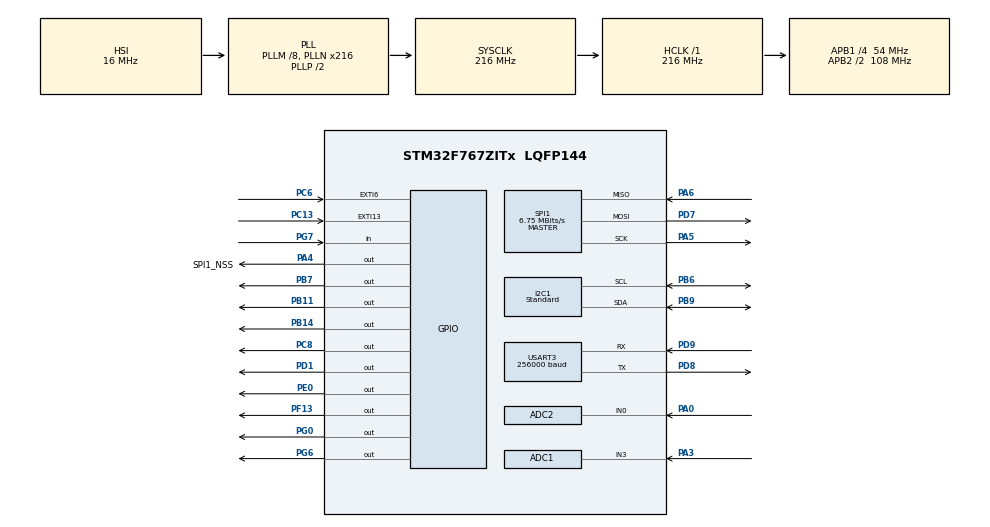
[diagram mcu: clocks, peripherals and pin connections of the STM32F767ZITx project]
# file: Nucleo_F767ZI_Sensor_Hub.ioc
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ADC1.Channel-0\#ChannelRegularConversion=ADC_CHANNEL_3
ADC1.ContinuousConvMode=DISABLE
ADC1.DMAContinuousRequests=DISABLE
ADC1.NbrOfConversionFlag=1
ADC1.Rank-0\#ChannelRegularConversion=1
ADC1.SamplingTime-0\#ChannelRegularConversion=ADC_SAMPLETIME_3CYCLES
ADC1.ScanConvMode=DISABLE
ADC1.master=1
ADC2.Channel-3\#ChannelRegularConversion=ADC_CHANNEL_0
ADC2.NbrOfConversionFlag=1
ADC2.Rank-3\#ChannelRegularConversion=1
ADC2.SamplingTime-3\#ChannelRegularConversion=ADC_SAMPLETIME_3CYCLES
Dma.ADC1.4.Direction=DMA_PERIPH_TO_MEMORY
Dma.ADC1.4.FIFOMode=DMA_FIFOMODE_DISABLE
Dma.ADC1.4.Instance=DMA2_Stream4
Dma.ADC1.4.MemDataAlignment=DMA_MDATAALIGN_HALFWORD
Dma.ADC1.4.MemInc=DMA_MINC_ENABLE
Dma.ADC1.4.Mode=DMA_NORMAL
Dma.ADC1.4.PeriphDataAlignment=DMA_PDATAALIGN_HALFWORD
Dma.ADC1.4.PeriphInc=DMA_PINC_DISABLE
Dma.ADC1.4.Priority=DMA_PRIORITY_LOW
Dma.I2C1_RX.0.Direction=DMA_PERIPH_TO_MEMORY
Dma.I2C1_RX.0.FIFOMode=DMA_FIFOMODE_DISABLE
Dma.I2C1_RX.0.Instance=DMA1_Stream0
Dma.I2C1_RX.0.MemDataAlignment=DMA_MDATAALIGN_BYTE
Dma.I2C1_RX.0.MemInc=DMA_MINC_ENABLE
Dma.I2C1_RX.0.Mode=DMA_NORMAL
Dma.I2C1_RX.0.PeriphDataAlignment=DMA_PDATAALIGN_BYTE
Dma.I2C1_RX.0.PeriphInc=DMA_PINC_DISABLE
Dma.I2C1_RX.0.Priority=DMA_PRIORITY_LOW
Dma.I2C1_TX.1.Direction=DMA_MEMORY_TO_PERIPH
Dma.I2C1_TX.1.FIFOMode=DMA_FIFOMODE_DISABLE
Dma.I2C1_TX.1.Instance=DMA1_Stream6
Dma.I2C1_TX.1.MemDataAlignment=DMA_MDATAALIGN_BYTE
Dma.I2C1_TX.1.MemInc=DMA_MINC_ENABLE
Dma.I2C1_TX.1.Mode=DMA_NORMAL
Dma.I2C1_TX.1.PeriphDataAlignment=DMA_PDATAALIGN_BYTE
Dma.I2C1_TX.1.PeriphInc=DMA_PINC_DISABLE
Dma.I2C1_TX.1.Priority=DMA_PRIORITY_LOW
Dma.Request0=I2C1_RX
Dma.Request1=I2C1_TX
Dma.Request2=SPI1_RX
Dma.Request3=SPI1_TX
Dma.Request4=ADC1
Dma.Request5=USART3_RX
Dma.Request6=USART3_TX
Dma.SPI1_RX.2.Direction=DMA_PERIPH_TO_MEMORY
Dma.SPI1_RX.2.FIFOMode=DMA_FIFOMODE_DISABLE
Dma.SPI1_RX.2.Instance=DMA2_Stream0
Dma.SPI1_RX.2.MemDataAlignment=DMA_MDATAALIGN_BYTE
Dma.SPI1_RX.2.MemInc=DMA_MINC_ENABLE
Dma.SPI1_RX.2.Mode=DMA_NORMAL
Dma.SPI1_RX.2.PeriphDataAlignment=DMA_PDATAALIGN_BYTE
Dma.SPI1_RX.2.PeriphInc=DMA_PINC_DISABLE
Dma.SPI1_RX.2.Priority=DMA_PRIORITY_LOW
Dma.SPI1_TX.3.Direction=DMA_MEMORY_TO_PERIPH
Dma.SPI1_TX.3.FIFOMode=DMA_FIFOMODE_DISABLE
Dma.SPI1_TX.3.Instance=DMA2_Stream3
Dma.SPI1_TX.3.MemDataAlignment=DMA_MDATAALIGN_BYTE
Dma.SPI1_TX.3.MemInc=DMA_MINC_ENABLE
Dma.SPI1_TX.3.Mode=DMA_NORMAL
Dma.SPI1_TX.3.PeriphDataAlignment=DMA_PDATAALIGN_BYTE
Dma.SPI1_TX.3.PeriphInc=DMA_PINC_DISABLE
Dma.SPI1_TX.3.Priority=DMA_PRIORITY_LOW
Dma.USART3_RX.5.Direction=DMA_PERIPH_TO_MEMORY
Dma.USART3_RX.5.FIFOMode=DMA_FIFOMODE_DISABLE
Dma.USART3_RX.5.Instance=DMA1_Stream1
Dma.USART3_RX.5.MemDataAlignment=DMA_MDATAALIGN_BYTE
Dma.USART3_RX.5.MemInc=DMA_MINC_ENABLE
Dma.USART3_RX.5.Mode=DMA_NORMAL
Dma.USART3_RX.5.PeriphDataAlignment=DMA_PDATAALIGN_BYTE
Dma.USART3_RX.5.PeriphInc=DMA_PINC_DISABLE
Dma.USART3_RX.5.Priority=DMA_PRIORITY_LOW
Dma.USART3_TX.6.Direction=DMA_MEMORY_TO_PERIPH
Dma.USART3_TX.6.FIFOMode=DMA_FIFOMODE_DISABLE
Dma.USART3_TX.6.Instance=DMA1_Stream3
Dma.USART3_TX.6.MemDataAlignment=DMA_MDATAALIGN_BYTE
Dma.USART3_TX.6.MemInc=DMA_MINC_ENABLE
Dma.USART3_TX.6.Mode=DMA_NORMAL
Dma.USART3_TX.6.PeriphDataAlignment=DMA_PDATAALIGN_BYTE
Dma.USART3_TX.6.PeriphInc=DMA_PINC_DISABLE
Dma.USART3_TX.6.Priority=DMA_PRIORITY_LOW
I2C1.Analog_Filter=I2C_ANALOGFILTER_ENABLE
I2C1.I2C_Coeff_DF=2
I2C1.I2C_Fall_Time=150
I2C1.I2C_Rise_Time=500
I2C1.I2C_Speed_Mode=I2C_Standard
I2C1.OwnAddress=0x60
I2C1.Speed=100
I2C1.Timing=0x20D1455D
Mcu.Family=STM32F7
Mcu.Name=STM32F767ZITx
Mcu.Package=LQFP144
NVIC.ADC_IRQn=true\:0\:0\:false\:true\:true\:4\:true\:true
NVIC.DMA1_Stream0_IRQn=true\:0\:0\:false\:true\:true\:10\:false\:true
NVIC.DMA1_Stream1_IRQn=true\:0\:0\:false\:true\:true\:6\:false\:true
NVIC.DMA1_Stream3_IRQn=true\:0\:0\:false\:true\:true\:8\:false\:true
NVIC.DMA1_Stream6_IRQn=true\:0\:0\:false\:true\:true\:9\:false\:true
NVIC.DMA2_Stream0_IRQn=true\:0\:0\:false\:false\:true\:false\:true
NVIC.DMA2_Stream3_IRQn=true\:0\:0\:false\:false\:true\:false\:true
NVIC.DMA2_Stream4_IRQn=true\:0\:0\:false\:false\:true\:false\:true
NVIC.EXTI15_10_IRQn=true\:0\:0\:false\:true\:true\:11\:true\:true
NVIC.I2C1_ER_IRQn=true\:0\:0\:false\:true\:true\:2\:true\:true
NVIC.I2C1_EV_IRQn=true\:0\:0\:false\:true\:true\:1\:true\:true
NVIC.PriorityGroup=NVIC_PRIORITYGROUP_4
NVIC.SPI1_IRQn=true\:0\:0\:false\:true\:false\:5\:true\:true
NVIC.TIM6_DAC_IRQn=true\:0\:0\:true\:true\:true\:3\:true\:true
NVIC.USART3_IRQn=true\:0\:0\:false\:true\:true\:7\:true\:true
PA0/WKUP.Signal=ADCx_IN0
PA1.Signal=ETH_RX_CLK
PA10.GPIO_Mode=GPIO_MODE_AF_PP
PA10.GPIO_PuPd=GPIO_NOPULL
PA10.GPIO_Speed=GPIO_SPEED_FREQ_VERY_HIGH
PA10.Signal=USB_OTG_FS_ID
PA11.GPIO_Mode=GPIO_MODE_AF_PP
PA11.GPIO_PuPd=GPIO_NOPULL
PA11.GPIO_Speed=GPIO_SPEED_FREQ_VERY_HIGH
PA11.Signal=USB_OTG_FS_DM
PA12.GPIO_Mode=GPIO_MODE_AF_PP
PA12.GPIO_PuPd=GPIO_NOPULL
PA12.GPIO_Speed=GPIO_SPEED_FREQ_VERY_HIGH
PA12.Signal=USB_OTG_FS_DP
PA13.Mode=Serial_Wire
PA13.Signal=SYS_JTMS-SWDIO
PA14.Mode=Serial_Wire
PA14.Signal=SYS_JTCK-SWCLK
PA2.GPIO_Mode=GPIO_MODE_AF_PP
PA2.GPIO_PuPd=GPIO_NOPULL
PA2.GPIO_Speed=GPIO_SPEED_FREQ_VERY_HIGH
PA2.Signal=ETH_MDIO
PA3.Signal=ADCx_IN3
PA4.GPIO_Label=SPI1_NSS
PA4.GPIO_ModeDefaultOutputPP=GPIO_MODE_OUTPUT_PP
PA4.GPIO_PuPd=GPIO_NOPULL
PA4.GPIO_Speed=GPIO_SPEED_FREQ_LOW
PA4.PinState=GPIO_PIN_RESET
PA4.Signal=GPIO_Output
PA5.Mode=Full_Duplex_Master
PA5.Signal=SPI1_SCK
PA6.Mode=Full_Duplex_Master
PA6.Signal=SPI1_MISO
PA7.Signal=ETH_RX_DV
PA8.GPIO_Mode=GPIO_MODE_AF_PP
PA8.GPIO_PuPd=GPIO_NOPULL
PA8.GPIO_Speed=GPIO_SPEED_FREQ_VERY_HIGH
PA8.Signal=USB_OTG_FS_SOF
PA9.GPIO_Mode=GPIO_MODE_INPUT
PA9.GPIO_PuPd=GPIO_NOPULL
PA9.Signal=USB_OTG_FS_VBUS
PB11.Signal=GPIO_Output
PB13.GPIO_Mode=GPIO_MODE_AF_PP
PB13.GPIO_PuPd=GPIO_NOPULL
PB13.GPIO_Speed=GPIO_SPEED_FREQ_VERY_HIGH
PB13.Signal=ETH_TXD1
PB14.GPIO_ModeDefaultOutputPP=GPIO_MODE_OUTPUT_PP
PB14.GPIO_PuPd=GPIO_NOPULL
PB14.GPIO_Speed=GPIO_SPEED_FREQ_LOW
PB14.PinState=GPIO_PIN_RESET
PB14.Signal=GPIO_Output
PB3.Signal=SYS_JTDO-SWO
PB6.Mode=I2C
PB6.Signal=I2C1_SCL
PB7.GPIO_FM7=__NULL
PB7.GPIO_ModeDefaultOutputPP=GPIO_MODE_OUTPUT_PP
PB7.GPIO_PuPd=GPIO_NOPULL
PB7.GPIO_Speed=GPIO_SPEED_FREQ_LOW
PB7.PinState=GPIO_PIN_RESET
PB7.Signal=GPIO_Output
PB9.Mode=I2C
PB9.Signal=I2C1_SDA
PC1.GPIO_Mode=GPIO_MODE_AF_PP
PC1.GPIO_PuPd=GPIO_NOPULL
PC1.GPIO_Speed=GPIO_SPEED_FREQ_VERY_HIGH
PC1.Signal=ETH_MDC
PC13.GPIO_ModeDefaultEXTI=GPIO_MODE_IT_RISING
PC13.GPIO_PuPd=GPIO_NOPULL
PC13.Signal=GPXTI13
PC14/OSC32_IN.Mode=LSE-External-Oscillator
PC14/OSC32_IN.Signal=RCC_OSC32_IN
PC15/OSC32_OUT.Mode=LSE-External-Oscillator
PC15/OSC32_OUT.Signal=RCC_OSC32_OUT
PC4.GPIO_Mode=GPIO_MODE_AF_PP
PC4.GPIO_PuPd=GPIO_NOPULL
PC4.GPIO_Speed=GPIO_SPEED_FREQ_VERY_HIGH
PC4.Signal=ETH_RXD0
PC5.GPIO_Mode=GPIO_MODE_AF_PP
PC5.GPIO_PuPd=GPIO_NOPULL
PC5.GPIO_Speed=GPIO_SPEED_FREQ_VERY_HIGH
PC5.Signal=ETH_RXD1
PC6.GPIO_ModeDefaultEXTI=GPIO_MODE_IT_RISING
PC6.GPIO_PuPd=GPIO_NOPULL
PC6.Signal=GPXTI6
PC8.GPIO_ModeDefaultOutputPP=GPIO_MODE_OUTPUT_OD
PC8.Signal=GPIO_Output
PD1.Signal=GPIO_Output
PD7.Mode=Full_Duplex_Master
PD7.Signal=SPI1_MOSI
PD8.GPIO_ModeDefaultPP=GPIO_MODE_AF_PP
PD8.GPIO_PuPd=GPIO_NOPULL
PD8.GPIO_Speed=GPIO_SPEED_FREQ_VERY_HIGH
PD8.Mode=Asynchronous
PD8.Signal=USART3_TX
PD9.GPIO_ModeDefaultPP=GPIO_MODE_AF_PP
PD9.GPIO_PuPd=GPIO_NOPULL
PD9.GPIO_Speed=GPIO_SPEED_FREQ_VERY_HIGH
PD9.Mode=Asynchronous
PD9.Signal=USART3_RX
PE0.Signal=GPIO_Output
PF13.GPIO_ModeDefaultOutputPP=GPIO_MODE_OUTPUT_OD
PF13.Signal=GPIO_Output
PG0.Signal=GPIO_Output
PG11.GPIO_Mode=GPIO_MODE_AF_PP
PG11.GPIO_PuPd=GPIO_NOPULL
PG11.GPIO_Speed=GPIO_SPEED_FREQ_VERY_HIGH
PG11.Signal=ETH_TX_EN
PG13.GPIO_Mode=GPIO_MODE_AF_PP
PG13.GPIO_PuPd=GPIO_NOPULL
PG13.GPIO_Speed=GPIO_SPEED_FREQ_VERY_HIGH
PG13.Signal=ETH_TXD0
PG6.GPIO_ModeDefaultOutputPP=GPIO_MODE_OUTPUT_PP
PG6.GPIO_PuPd=GPIO_NOPULL
PG6.GPIO_Speed=GPIO_SPEED_FREQ_LOW
PG6.PinState=GPIO_PIN_RESET
PG6.Signal=GPIO_Output
PG7.GPIO_Mode=GPIO_MODE_INPUT
PG7.GPIO_PuPd=GPIO_NOPULL
PG7.Signal=GPIO_Input
PH0/OSC_IN.Mode=HSE-External-Clock-Source
PH0/OSC_IN.Signal=RCC_OSC_IN
PH1/OSC_OUT.Mode=HSE-External-Clock-Source
PH1/OSC_OUT.Signal=RCC_OSC_OUT
ProjectManager.HeapSize=0x200
ProjectManager.StackSize=0x400
ProjectManager.TargetToolchain=STM32CubeIDE
RCC.48MHZClocksFreq_Value=24000000
RCC.AHBFreq_Value=216000000
RCC.APB1CLKDivider=RCC_HCLK_DIV4
RCC.APB1Freq_Value=54000000
RCC.APB1TimFreq_Value=108000000
RCC.APB2CLKDivider=RCC_HCLK_DIV2
RCC.APB2Freq_Value=108000000
RCC.APB2TimFreq_Value=216000000
RCC.CortexFreq_Value=216000000
RCC.HCLKFreq_Value=216000000
RCC.HSE_VALUE=8000000
RCC.HSI_VALUE=16000000
RCC.LSE_Timout=50
RCC.PLLM=8
RCC.PLLMUL=RCC_PLL_MUL9
RCC.PLLN=216
RCC.PLLQ=4
RCC.PRESCALERUSB=RCC_USBCLKSOURCE_PLL_DIV1_5
RCC.SYSCLKFreq_VALUE=216000000
RCC.SYSCLKSource=RCC_SYSCLKSOURCE_PLLCLK
RCC.SYSCLKSourceVirtual=RCC_SYSCLKSOURCE_PLLCLK
RCC.USBFreq_Value=108000000
RCC.VCOOutputFreq_Value=432000000
RTC.AsynchPrediv=31
RTC.Format=RTC_FORMAT_BCD
RTC.HourFormat=RTC_HOURFORMAT_12
RTC.SynchPrediv=999
SH.ADCx_IN0.0=ADC2_IN0,IN0
SH.ADCx_IN3.0=ADC1_IN3,IN3
SPI1.BaudRatePrescaler=SPI_BAUDRATEPRESCALER_16
SPI1.CLKPhase=SPI_PHASE_1EDGE
SPI1.CalculateBaudRate=6.75 MBits/s
SPI1.DataSize=SPI_DATASIZE_8BIT
SPI1.Direction=SPI_DIRECTION_2LINES
SPI1.Mode=SPI_MODE_MASTER
SPI1.VirtualType=VM_MASTER
TIM6.Period=3599
TIM6.Prescaler=2999
USART3.BaudRate=256000
USART3.VirtualMode-Asynchronous=VM_ASYNC
VP_RTC_VS_RTC_Activate.Mode=RTC_Enabled
VP_RTC_VS_RTC_Calendar.Mode=RTC_Calendar
VP_TIM1_VS_ClockSourceITR.Mode=TriggerSource_ITR0
VP_TIM6_VS_ClockSourceINT.Mode=Enable_Timer
VP_TIM7_VS_ClockSourceINT.Mode=Enable_Timer
board=NUCLEO-F767ZI

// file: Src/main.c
/* USER CODE BEGIN Header */
/**
  ******************************************************************************
  * @file           : main.c
  * @brief          : Main program body
  ******************************************************************************
  * @attention
  *
  * <h2><center>&copy; Copyright (c) 2019 STMicroelectronics.
  * All rights reserved.</center></h2>
  *
  * This software component is licensed by ST under BSD 3-Clause license,
  * the "License"; You may not use this file except in compliance with the
  * License. You may obtain a copy of the License at:
  *                        opensource.org/licenses/BSD-3-Clause
  *
  ******************************************************************************
  */
/* USER CODE END Header */

#include "main.h"

ADC_HandleTypeDef hadc1;
ADC_HandleTypeDef hadc2;
DMA_HandleTypeDef hdma_adc1;

I2C_HandleTypeDef hi2c1;
DMA_HandleTypeDef hdma_i2c1_rx;
DMA_HandleTypeDef hdma_i2c1_tx;

RTC_HandleTypeDef hrtc;

SPI_HandleTypeDef hspi1;
DMA_HandleTypeDef hdma_spi1_rx;
DMA_HandleTypeDef hdma_spi1_tx;

TIM_HandleTypeDef htim1;
TIM_HandleTypeDef htim6;
TIM_HandleTypeDef htim7;

UART_HandleTypeDef huart3;
DMA_HandleTypeDef hdma_usart3_rx;
DMA_HandleTypeDef hdma_usart3_tx;

/* USER CODE BEGIN PV */

Sensor_HandleType sens1;
Sensor_HandleType sens2;
Sensor_HandleType sens3;
Sensor_HandleType sens4;
Sensor_HandleType sens5;

Operator_UartDataType operator1;

char hal_errorFunctionName[128] = "NO FUNCTION SELECTED";

RTC_TimeTypeDef init_system_time = {0, 0, 0, 0};
RTC_DateTypeDef init_system_date = {0, 0, 0, 0};

volatile uint8_t DataAquisitionFlag = 0;

/* USER CODE END PV */

void SystemClock_Config(void);
static void MX_GPIO_Init(void);
static void MX_DMA_Init(void);
static void MX_I2C1_Init(void);
static void MX_SPI1_Init(void);
static void MX_USART3_UART_Init(void);
static void MX_TIM6_Init(void);
static void MX_RTC_Init(void);
static void MX_ADC1_Init(void);
static void MX_TIM1_Init(void);
static void MX_ADC2_Init(void);
static void MX_TIM7_Init(void);
static void MX_NVIC_Init(void);
/* USER CODE BEGIN PFP */

static void burstMode(uint32_t dataSize);
static void configSensors(void);
static void configOperator(void);
/* USER CODE END PFP */

int main(void)
{
  /* USER CODE BEGIN 1 */

/*Number of data points for one measurement*/
 uint32_t burstModeDataSize = 100000;
  /* USER CODE END 1 */

  /* MCU Configuration--------------------------------------------------------*/

  /* Reset of all peripherals, Initializes the Flash interface and the Systick. */
  HAL_Init();

  /* Configure the system clock */
  SystemClock_Config();

  /* USER CODE BEGIN SysInit */

  /* Initialization Code--------------------------------------------------------*/

#ifdef COMMENT_OUT
  /* USER CODE END SysInit */

  /* Initialize all configured peripherals */
  MX_GPIO_Init();
  MX_DMA_Init();
  MX_I2C1_Init();
  MX_SPI1_Init();
  MX_USART3_UART_Init();
  MX_TIM6_Init();
  MX_RTC_Init();
  MX_ADC1_Init();
  MX_TIM1_Init();
  MX_ADC2_Init();
  MX_TIM7_Init();

  /* Initialize interrupts */
  MX_NVIC_Init();
  /* USER CODE BEGIN 2 */
#endif  /*COMMENT_OUT*/

  /*The following peripherals will be initialized auto-generated CubeHal-functions
   *The interface peripherals to the Sensors and to the Operator will be initialized separately
   *in the configOperator() and configSensors() functions*/

  MX_GPIO_Init();
  MX_NVIC_Init();
  MX_TIM6_Init();
  MX_RTC_Init();
  MX_DMA_Init();

  /*Initial the RTC system time*/
  initDWT(); /*Clock Cycle timer for us delays*/
  setSystemTime(init_system_time, init_system_date);

  /*Make sure the currentSink for TSEP measurement is turned off */
  turnOffCurrentSink();

  /*Specific Settings for each Sensor
   *
   * Sens1: Themorcouple, I2C Interface
   * Sens2: Thermopile, SPI Interface (not active)
   * Sens3: TSEP, Analog ADC Interface
   * Sens4: Thermistor, Analog ADC Interface
   * sens5: Thermocam, Trigger GPIO
   *
   * */
  configOperator();
  configSensors();

  /*Additional Calibration Data*/
  Sensor_setSensorCalibration(&sens1);

  /* USER CODE END 2 */

  /* Infinite loop */
  /* USER CODE BEGIN WHILE */

  /* Main Application Code--------------------------------------------------------*/
  while (1)
  {
	  /*Wait for burst-mode start command */
	 Operator_uartListenCommand(&huart3, &operator1);

	 if (Operator_processCommand(&huart3, &operator1) == OPERATOR_START_COMMAND)
	 {
		 /*Indication that a data aquisition is running*/
		 DataAquisitionFlag = 1;
		 HAL_GPIO_WritePin(GPIOB, GPIO_PIN_7, GPIO_PIN_SET);

		 /*Timer for Camera framerate of 10Hz*/
		 HAL_TIM_Base_Start_IT(&htim6);

		/*Turn on the current sink for TSEP measurement*/
		 turnOnCurrentSink();

		 /*Reset RTC Time to 0 */
		 setSystemTime(init_system_time, init_system_date);

		 /*Burst mode data acquisition which collects data for all sensors until the burstModeDataSize limit is reached*/
		 burstMode(burstModeDataSize);

	 }
    /* USER CODE END WHILE */

  }
}

void SystemClock_Config(void)
{
  RCC_OscInitTypeDef RCC_OscInitStruct = {0};
  RCC_ClkInitTypeDef RCC_ClkInitStruct = {0};
  RCC_PeriphCLKInitTypeDef PeriphClkInitStruct = {0};

  /** Configure LSE Drive Capability
  */
  HAL_PWR_EnableBkUpAccess();
  /** Configure the main internal regulator output voltage
  */
  __HAL_RCC_PWR_CLK_ENABLE();
  __HAL_PWR_VOLTAGESCALING_CONFIG(PWR_REGULATOR_VOLTAGE_SCALE1);
  /** Initializes the CPU, AHB and APB busses clocks
  */
  RCC_OscInitStruct.OscillatorType = RCC_OSCILLATORTYPE_HSI|RCC_OSCILLATORTYPE_LSI;
  RCC_OscInitStruct.HSIState = RCC_HSI_ON;
  RCC_OscInitStruct.HSICalibrationValue = RCC_HSICALIBRATION_DEFAULT;
  RCC_OscInitStruct.LSIState = RCC_LSI_ON;
  RCC_OscInitStruct.PLL.PLLState = RCC_PLL_ON;
  RCC_OscInitStruct.PLL.PLLSource = RCC_PLLSOURCE_HSI;
  RCC_OscInitStruct.PLL.PLLM = 8;
  RCC_OscInitStruct.PLL.PLLN = 216;
  RCC_OscInitStruct.PLL.PLLP = RCC_PLLP_DIV2;
  RCC_OscInitStruct.PLL.PLLQ = 4;
  if (HAL_RCC_OscConfig(&RCC_OscInitStruct) != HAL_OK)
  {
    Error_Handler();
  }
  /** Activate the Over-Drive mode
  */
  if (HAL_PWREx_EnableOverDrive() != HAL_OK)
  {
    Error_Handler();
  }
  /** Initializes the CPU, AHB and APB busses clocks
  */
  RCC_ClkInitStruct.ClockType = RCC_CLOCKTYPE_HCLK|RCC_CLOCKTYPE_SYSCLK
                              |RCC_CLOCKTYPE_PCLK1|RCC_CLOCKTYPE_PCLK2;
  RCC_ClkInitStruct.SYSCLKSource = RCC_SYSCLKSOURCE_PLLCLK;
  RCC_ClkInitStruct.AHBCLKDivider = RCC_SYSCLK_DIV1;
  RCC_ClkInitStruct.APB1CLKDivider = RCC_HCLK_DIV4;
  RCC_ClkInitStruct.APB2CLKDivider = RCC_HCLK_DIV2;

  if (HAL_RCC_ClockConfig(&RCC_ClkInitStruct, FLASH_LATENCY_7) != HAL_OK)
  {
    Error_Handler();
  }
  PeriphClkInitStruct.PeriphClockSelection = RCC_PERIPHCLK_RTC|RCC_PERIPHCLK_USART3
                              |RCC_PERIPHCLK_I2C1;
  PeriphClkInitStruct.RTCClockSelection = RCC_RTCCLKSOURCE_LSI;
  PeriphClkInitStruct.Usart3ClockSelection = RCC_USART3CLKSOURCE_PCLK1;
  PeriphClkInitStruct.I2c1ClockSelection = RCC_I2C1CLKSOURCE_PCLK1;
  if (HAL_RCCEx_PeriphCLKConfig(&PeriphClkInitStruct) != HAL_OK)
  {
    Error_Handler();
  }
}

/**
  * @brief NVIC Configuration.
  * @retval None
  */
static void MX_NVIC_Init(void)
{
  /* I2C1_EV_IRQn interrupt configuration */
  HAL_NVIC_SetPriority(I2C1_EV_IRQn, 0, 0);
  HAL_NVIC_EnableIRQ(I2C1_EV_IRQn);
  /* I2C1_ER_IRQn interrupt configuration */
  HAL_NVIC_SetPriority(I2C1_ER_IRQn, 0, 0);
  HAL_NVIC_EnableIRQ(I2C1_ER_IRQn);
  /* TIM6_DAC_IRQn interrupt configuration */
  HAL_NVIC_SetPriority(TIM6_DAC_IRQn, 0, 0);
  HAL_NVIC_EnableIRQ(TIM6_DAC_IRQn);
  /* ADC_IRQn interrupt configuration */
  HAL_NVIC_SetPriority(ADC_IRQn, 0, 0);
  HAL_NVIC_EnableIRQ(ADC_IRQn);
  /* SPI1_IRQn interrupt configuration */
  HAL_NVIC_SetPriority(SPI1_IRQn, 0, 0);
  HAL_NVIC_EnableIRQ(SPI1_IRQn);
  /* DMA1_Stream1_IRQn interrupt configuration */
  HAL_NVIC_SetPriority(DMA1_Stream1_IRQn, 0, 0);
  HAL_NVIC_EnableIRQ(DMA1_Stream1_IRQn);
  /* USART3_IRQn interrupt configuration */
  HAL_NVIC_SetPriority(USART3_IRQn, 0, 0);
  HAL_NVIC_EnableIRQ(USART3_IRQn);
  /* DMA1_Stream3_IRQn interrupt configuration */
  HAL_NVIC_SetPriority(DMA1_Stream3_IRQn, 0, 0);
  HAL_NVIC_EnableIRQ(DMA1_Stream3_IRQn);
  /* DMA1_Stream6_IRQn interrupt configuration */
  HAL_NVIC_SetPriority(DMA1_Stream6_IRQn, 0, 0);
  HAL_NVIC_EnableIRQ(DMA1_Stream6_IRQn);
  /* DMA1_Stream0_IRQn interrupt configuration */
  HAL_NVIC_SetPriority(DMA1_Stream0_IRQn, 0, 0);
  HAL_NVIC_EnableIRQ(DMA1_Stream0_IRQn);
  /* EXTI15_10_IRQn interrupt configuration */
  HAL_NVIC_SetPriority(EXTI15_10_IRQn, 0, 0);
  HAL_NVIC_EnableIRQ(EXTI15_10_IRQn);
}

static void MX_ADC1_Init(void)
{

  ADC_ChannelConfTypeDef sConfig = {0};

  /** Configure the global features of the ADC (Clock, Resolution, Data Alignment and number of conversion)
  */
  hadc1.Instance = ADC1;
  hadc1.Init.ClockPrescaler = ADC_CLOCK_SYNC_PCLK_DIV4;
  hadc1.Init.Resolution = ADC_RESOLUTION_12B;
  hadc1.Init.ScanConvMode = DISABLE;
  hadc1.Init.ContinuousConvMode = DISABLE;
  hadc1.Init.DiscontinuousConvMode = DISABLE;
  hadc1.Init.ExternalTrigConvEdge = ADC_EXTERNALTRIGCONVEDGE_NONE;
  hadc1.Init.ExternalTrigConv = ADC_SOFTWARE_START;
  hadc1.Init.DataAlign = ADC_DATAALIGN_RIGHT;
  hadc1.Init.NbrOfConversion = 1;
  hadc1.Init.DMAContinuousRequests = DISABLE;
  hadc1.Init.EOCSelection = ADC_EOC_SINGLE_CONV;
  if (HAL_ADC_Init(&hadc1) != HAL_OK)
  {
    Error_Handler();
  }
  /** Configure for the selected ADC regular channel its corresponding rank in the sequencer and its sample time.
  */
  sConfig.Channel = ADC_CHANNEL_3;
  sConfig.Rank = ADC_REGULAR_RANK_1;
  sConfig.SamplingTime = ADC_SAMPLETIME_3CYCLES;
  if (HAL_ADC_ConfigChannel(&hadc1, &sConfig) != HAL_OK)
  {
    Error_Handler();
  }

}

static void MX_ADC2_Init(void)
{

  ADC_ChannelConfTypeDef sConfig = {0};

  /** Configure the global features of the ADC (Clock, Resolution, Data Alignment and number of conversion)
  */
  hadc2.Instance = ADC2;
  hadc2.Init.ClockPrescaler = ADC_CLOCK_SYNC_PCLK_DIV4;
  hadc2.Init.Resolution = ADC_RESOLUTION_12B;
  hadc2.Init.ScanConvMode = DISABLE;
  hadc2.Init.ContinuousConvMode = DISABLE;
  hadc2.Init.DiscontinuousConvMode = DISABLE;
  hadc2.Init.ExternalTrigConvEdge = ADC_EXTERNALTRIGCONVEDGE_NONE;
  hadc2.Init.ExternalTrigConv = ADC_SOFTWARE_START;
  hadc2.Init.DataAlign = ADC_DATAALIGN_RIGHT;
  hadc2.Init.NbrOfConversion = 1;
  hadc2.Init.DMAContinuousRequests = DISABLE;
  hadc2.Init.EOCSelection = ADC_EOC_SINGLE_CONV;
  if (HAL_ADC_Init(&hadc2) != HAL_OK)
  {
    Error_Handler();
  }
  /** Configure for the selected ADC regular channel its corresponding rank in the sequencer and its sample time.
  */
  sConfig.Channel = ADC_CHANNEL_0;
  sConfig.Rank = ADC_REGULAR_RANK_1;
  sConfig.SamplingTime = ADC_SAMPLETIME_3CYCLES;
  if (HAL_ADC_ConfigChannel(&hadc2, &sConfig) != HAL_OK)
  {
    Error_Handler();
  }

}

static void MX_I2C1_Init(void)
{

  hi2c1.Instance = I2C1;
  hi2c1.Init.Timing = 0x20D1455D;
  hi2c1.Init.OwnAddress1 = 192;
  hi2c1.Init.AddressingMode = I2C_ADDRESSINGMODE_7BIT;
  hi2c1.Init.DualAddressMode = I2C_DUALADDRESS_DISABLE;
  hi2c1.Init.OwnAddress2 = 0;
  hi2c1.Init.OwnAddress2Masks = I2C_OA2_NOMASK;
  hi2c1.Init.GeneralCallMode = I2C_GENERALCALL_DISABLE;
  hi2c1.Init.NoStretchMode = I2C_NOSTRETCH_DISABLE;
  if (HAL_I2C_Init(&hi2c1) != HAL_OK)
  {
    Error_Handler();
  }
  /** Configure Analogue filter
  */
  if (HAL_I2CEx_ConfigAnalogFilter(&hi2c1, I2C_ANALOGFILTER_ENABLE) != HAL_OK)
  {
    Error_Handler();
  }
  /** Configure Digital filter
  */
  if (HAL_I2CEx_ConfigDigitalFilter(&hi2c1, 2) != HAL_OK)
  {
    Error_Handler();
  }

}

static void MX_RTC_Init(void)
{

  RTC_TimeTypeDef sTime = {0};
  RTC_DateTypeDef sDate = {0};

  /** Initialize RTC Only
  */
  hrtc.Instance = RTC;
  hrtc.Init.HourFormat = RTC_HOURFORMAT_12;
  hrtc.Init.AsynchPrediv = 31;
  hrtc.Init.SynchPrediv = 999;
  hrtc.Init.OutPut = RTC_OUTPUT_DISABLE;
  hrtc.Init.OutPutPolarity = RTC_OUTPUT_POLARITY_HIGH;
  hrtc.Init.OutPutType = RTC_OUTPUT_TYPE_OPENDRAIN;
  if (HAL_RTC_Init(&hrtc) != HAL_OK)
  {
    Error_Handler();
  }

  /** Initialize RTC and set the Time and Date
  */
  sTime.Hours = 0x1;
  sTime.Minutes = 0x0;
  sTime.Seconds = 0x0;
  sTime.TimeFormat = RTC_HOURFORMAT12_AM;
  sTime.DayLightSaving = RTC_DAYLIGHTSAVING_NONE;
  sTime.StoreOperation = RTC_STOREOPERATION_RESET;
  if (HAL_RTC_SetTime(&hrtc, &sTime, RTC_FORMAT_BCD) != HAL_OK)
  {
    Error_Handler();
  }
  sDate.WeekDay = RTC_WEEKDAY_MONDAY;
  sDate.Month = RTC_MONTH_JANUARY;
  sDate.Date = 0x1;
  sDate.Year = 0x0;
  if (HAL_RTC_SetDate(&hrtc, &sDate, RTC_FORMAT_BCD) != HAL_OK)
  {
    Error_Handler();
  }

}

static void MX_SPI1_Init(void)
{

  /* SPI1 parameter configuration*/
  hspi1.Instance = SPI1;
  hspi1.Init.Mode = SPI_MODE_MASTER;
  hspi1.Init.Direction = SPI_DIRECTION_2LINES;
  hspi1.Init.DataSize = SPI_DATASIZE_8BIT;
  hspi1.Init.CLKPolarity = SPI_POLARITY_LOW;
  hspi1.Init.CLKPhase = SPI_PHASE_1EDGE;
  hspi1.Init.NSS = SPI_NSS_SOFT;
  hspi1.Init.BaudRatePrescaler = SPI_BAUDRATEPRESCALER_16;
  hspi1.Init.FirstBit = SPI_FIRSTBIT_MSB;
  hspi1.Init.TIMode = SPI_TIMODE_DISABLE;
  hspi1.Init.CRCCalculation = SPI_CRCCALCULATION_DISABLE;
  hspi1.Init.CRCPolynomial = 7;
  hspi1.Init.CRCLength = SPI_CRC_LENGTH_DATASIZE;
  hspi1.Init.NSSPMode = SPI_NSS_PULSE_ENABLE;
  if (HAL_SPI_Init(&hspi1) != HAL_OK)
  {
    Error_Handler();
  }

}

static void MX_TIM1_Init(void)
{

  TIM_SlaveConfigTypeDef sSlaveConfig = {0};
  TIM_MasterConfigTypeDef sMasterConfig = {0};

  htim1.Instance = TIM1;
  htim1.Init.Prescaler = 0;
  htim1.Init.CounterMode = TIM_COUNTERMODE_UP;
  htim1.Init.Period = 0;
  htim1.Init.ClockDivision = TIM_CLOCKDIVISION_DIV1;
  htim1.Init.RepetitionCounter = 0;
  htim1.Init.AutoReloadPreload = TIM_AUTORELOAD_PRELOAD_DISABLE;
  if (HAL_TIM_Base_Init(&htim1) != HAL_OK)
  {
    Error_Handler();
  }
  sSlaveConfig.SlaveMode = TIM_SLAVEMODE_DISABLE;
  sSlaveConfig.InputTrigger = TIM_TS_ITR0;
  if (HAL_TIM_SlaveConfigSynchro(&htim1, &sSlaveConfig) != HAL_OK)
  {
    Error_Handler();
  }
  sMasterConfig.MasterOutputTrigger = TIM_TRGO_RESET;
  sMasterConfig.MasterOutputTrigger2 = TIM_TRGO2_RESET;
  sMasterConfig.MasterSlaveMode = TIM_MASTERSLAVEMODE_DISABLE;
  if (HAL_TIMEx_MasterConfigSynchronization(&htim1, &sMasterConfig) != HAL_OK)
  {
    Error_Handler();
  }

}

static void MX_TIM6_Init(void)
{

  TIM_MasterConfigTypeDef sMasterConfig = {0};

  htim6.Instance = TIM6;
  htim6.Init.Prescaler = 2999;
  htim6.Init.CounterMode = TIM_COUNTERMODE_UP;
  htim6.Init.Period = 3599;
  htim6.Init.AutoReloadPreload = TIM_AUTORELOAD_PRELOAD_DISABLE;
  if (HAL_TIM_Base_Init(&htim6) != HAL_OK)
  {
    Error_Handler();
  }
  sMasterConfig.MasterOutputTrigger = TIM_TRGO_RESET;
  sMasterConfig.MasterSlaveMode = TIM_MASTERSLAVEMODE_DISABLE;
  if (HAL_TIMEx_MasterConfigSynchronization(&htim6, &sMasterConfig) != HAL_OK)
  {
    Error_Handler();
  }

}

static void MX_TIM7_Init(void)
{

  TIM_MasterConfigTypeDef sMasterConfig = {0};

  htim7.Instance = TIM7;
  htim7.Init.Prescaler = 0;
  htim7.Init.CounterMode = TIM_COUNTERMODE_UP;
  htim7.Init.Period = 0;
  htim7.Init.AutoReloadPreload = TIM_AUTORELOAD_PRELOAD_DISABLE;
  if (HAL_TIM_Base_Init(&htim7) != HAL_OK)
  {
    Error_Handler();
  }
  sMasterConfig.MasterOutputTrigger = TIM_TRGO_RESET;
  sMasterConfig.MasterSlaveMode = TIM_MASTERSLAVEMODE_DISABLE;
  if (HAL_TIMEx_MasterConfigSynchronization(&htim7, &sMasterConfig) != HAL_OK)
  {
    Error_Handler();
  }

}

static void MX_USART3_UART_Init(void)
{

  huart3.Instance = USART3;
  huart3.Init.BaudRate = 256000;
  huart3.Init.WordLength = UART_WORDLENGTH_8B;
  huart3.Init.StopBits = UART_STOPBITS_1;
  huart3.Init.Parity = UART_PARITY_NONE;
  huart3.Init.Mode = UART_MODE_TX_RX;
  huart3.Init.HwFlowCtl = UART_HWCONTROL_NONE;
  huart3.Init.OverSampling = UART_OVERSAMPLING_16;
  huart3.Init.OneBitSampling = UART_ONE_BIT_SAMPLE_DISABLE;
  huart3.AdvancedInit.AdvFeatureInit = UART_ADVFEATURE_NO_INIT;
  if (HAL_UART_Init(&huart3) != HAL_OK)
  {
    Error_Handler();
  }

}

static void MX_DMA_Init(void)
{
  /* DMA controller clock enable */
  __HAL_RCC_DMA1_CLK_ENABLE();
  __HAL_RCC_DMA2_CLK_ENABLE();

  /* DMA interrupt init */
  /* DMA2_Stream0_IRQn interrupt configuration */
  HAL_NVIC_SetPriority(DMA2_Stream0_IRQn, 0, 0);
  HAL_NVIC_EnableIRQ(DMA2_Stream0_IRQn);
  /* DMA2_Stream3_IRQn interrupt configuration */
  HAL_NVIC_SetPriority(DMA2_Stream3_IRQn, 0, 0);
  HAL_NVIC_EnableIRQ(DMA2_Stream3_IRQn);
  /* DMA2_Stream4_IRQn interrupt configuration */
  HAL_NVIC_SetPriority(DMA2_Stream4_IRQn, 0, 0);
  HAL_NVIC_EnableIRQ(DMA2_Stream4_IRQn);

}

static void MX_GPIO_Init(void)
{
  GPIO_InitTypeDef GPIO_InitStruct = {0};

  /* GPIO Ports Clock Enable */
  __HAL_RCC_GPIOC_CLK_ENABLE();
  __HAL_RCC_GPIOH_CLK_ENABLE();
  __HAL_RCC_GPIOA_CLK_ENABLE();
  __HAL_RCC_GPIOF_CLK_ENABLE();
  __HAL_RCC_GPIOG_CLK_ENABLE();
  __HAL_RCC_GPIOB_CLK_ENABLE();
  __HAL_RCC_GPIOD_CLK_ENABLE();
  __HAL_RCC_GPIOE_CLK_ENABLE();

  /*Configure GPIO pin Output Level */
  HAL_GPIO_WritePin(SPI1_NSS_GPIO_Port, SPI1_NSS_Pin, GPIO_PIN_RESET);

  /*Configure GPIO pin Output Level */
  HAL_GPIO_WritePin(GPIOF, GPIO_PIN_13, GPIO_PIN_RESET);

  /*Configure GPIO pin Output Level */
  HAL_GPIO_WritePin(GPIOG, GPIO_PIN_0|GPIO_PIN_6, GPIO_PIN_RESET);

  /*Configure GPIO pin Output Level */
  HAL_GPIO_WritePin(GPIOB, GPIO_PIN_11|GPIO_PIN_14|GPIO_PIN_7, GPIO_PIN_RESET);

  /*Configure GPIO pin Output Level */
  HAL_GPIO_WritePin(GPIOC, GPIO_PIN_8, GPIO_PIN_RESET);

  /*Configure GPIO pin Output Level */
  HAL_GPIO_WritePin(GPIOD, GPIO_PIN_1, GPIO_PIN_RESET);

  /*Configure GPIO pin Output Level */
  HAL_GPIO_WritePin(GPIOE, GPIO_PIN_0, GPIO_PIN_RESET);

  /*Configure GPIO pins : PC13 PC6 */
  GPIO_InitStruct.Pin = GPIO_PIN_13|GPIO_PIN_6;
  GPIO_InitStruct.Mode = GPIO_MODE_IT_RISING;
  GPIO_InitStruct.Pull = GPIO_NOPULL;
  HAL_GPIO_Init(GPIOC, &GPIO_InitStruct);

  /*Configure GPIO pins : PC1 PC4 PC5 */
  GPIO_InitStruct.Pin = GPIO_PIN_1|GPIO_PIN_4|GPIO_PIN_5;
  GPIO_InitStruct.Mode = GPIO_MODE_AF_PP;
  GPIO_InitStruct.Pull = GPIO_NOPULL;
  GPIO_InitStruct.Speed = GPIO_SPEED_FREQ_VERY_HIGH;
  GPIO_InitStruct.Alternate = GPIO_AF11_ETH;
  HAL_GPIO_Init(GPIOC, &GPIO_InitStruct);

  /*Configure GPIO pins : PA1 PA2 PA7 */
  GPIO_InitStruct.Pin = GPIO_PIN_1|GPIO_PIN_2|GPIO_PIN_7;
  GPIO_InitStruct.Mode = GPIO_MODE_AF_PP;
  GPIO_InitStruct.Pull = GPIO_NOPULL;
  GPIO_InitStruct.Speed = GPIO_SPEED_FREQ_VERY_HIGH;
  GPIO_InitStruct.Alternate = GPIO_AF11_ETH;
  HAL_GPIO_Init(GPIOA, &GPIO_InitStruct);

  /*Configure GPIO pin : SPI1_NSS_Pin */
  GPIO_InitStruct.Pin = SPI1_NSS_Pin;
  GPIO_InitStruct.Mode = GPIO_MODE_OUTPUT_PP;
  GPIO_InitStruct.Pull = GPIO_NOPULL;
  GPIO_InitStruct.Speed = GPIO_SPEED_FREQ_LOW;
  HAL_GPIO_Init(SPI1_NSS_GPIO_Port, &GPIO_InitStruct);

  /*Configure GPIO pin : PF13 */
  GPIO_InitStruct.Pin = GPIO_PIN_13;
  GPIO_InitStruct.Mode = GPIO_MODE_OUTPUT_OD;
  GPIO_InitStruct.Pull = GPIO_NOPULL;
  GPIO_InitStruct.Speed = GPIO_SPEED_FREQ_LOW;
  HAL_GPIO_Init(GPIOF, &GPIO_InitStruct);

  /*Configure GPIO pins : PG0 PG6 */
  GPIO_InitStruct.Pin = GPIO_PIN_0|GPIO_PIN_6;
  GPIO_InitStruct.Mode = GPIO_MODE_OUTPUT_PP;
  GPIO_InitStruct.Pull = GPIO_NOPULL;
  GPIO_InitStruct.Speed = GPIO_SPEED_FREQ_LOW;
  HAL_GPIO_Init(GPIOG, &GPIO_InitStruct);

  /*Configure GPIO pins : PB11 PB14 PB7 */
  GPIO_InitStruct.Pin = GPIO_PIN_11|GPIO_PIN_14|GPIO_PIN_7;
  GPIO_InitStruct.Mode = GPIO_MODE_OUTPUT_PP;
  GPIO_InitStruct.Pull = GPIO_NOPULL;
  GPIO_InitStruct.Speed = GPIO_SPEED_FREQ_LOW;
  HAL_GPIO_Init(GPIOB, &GPIO_InitStruct);

  /*Configure GPIO pin : PB13 */
  GPIO_InitStruct.Pin = GPIO_PIN_13;
  GPIO_InitStruct.Mode = GPIO_MODE_AF_PP;
  GPIO_InitStruct.Pull = GPIO_NOPULL;
  GPIO_InitStruct.Speed = GPIO_SPEED_FREQ_VERY_HIGH;
  GPIO_InitStruct.Alternate = GPIO_AF11_ETH;
  HAL_GPIO_Init(GPIOB, &GPIO_InitStruct);

  /*Configure GPIO pin : PG7 */
  GPIO_InitStruct.Pin = GPIO_PIN_7;
  GPIO_InitStruct.Mode = GPIO_MODE_INPUT;
  GPIO_InitStruct.Pull = GPIO_NOPULL;
  HAL_GPIO_Init(GPIOG, &GPIO_InitStruct);

  /*Configure GPIO pin : PC8 */
  GPIO_InitStruct.Pin = GPIO_PIN_8;
  GPIO_InitStruct.Mode = GPIO_MODE_OUTPUT_OD;
  GPIO_InitStruct.Pull = GPIO_NOPULL;
  GPIO_InitStruct.Speed = GPIO_SPEED_FREQ_LOW;
  HAL_GPIO_Init(GPIOC, &GPIO_InitStruct);

  /*Configure GPIO pins : PA8 PA10 PA11 PA12 */
  GPIO_InitStruct.Pin = GPIO_PIN_8|GPIO_PIN_10|GPIO_PIN_11|GPIO_PIN_12;
  GPIO_InitStruct.Mode = GPIO_MODE_AF_PP;
  GPIO_InitStruct.Pull = GPIO_NOPULL;
  GPIO_InitStruct.Speed = GPIO_SPEED_FREQ_VERY_HIGH;
  GPIO_InitStruct.Alternate = GPIO_AF10_OTG_FS;
  HAL_GPIO_Init(GPIOA, &GPIO_InitStruct);

  /*Configure GPIO pin : PA9 */
  GPIO_InitStruct.Pin = GPIO_PIN_9;
  GPIO_InitStruct.Mode = GPIO_MODE_INPUT;
  GPIO_InitStruct.Pull = GPIO_NOPULL;
  HAL_GPIO_Init(GPIOA, &GPIO_InitStruct);

  /*Configure GPIO pin : PD1 */
  GPIO_InitStruct.Pin = GPIO_PIN_1;
  GPIO_InitStruct.Mode = GPIO_MODE_OUTPUT_PP;
  GPIO_InitStruct.Pull = GPIO_NOPULL;
  GPIO_InitStruct.Speed = GPIO_SPEED_FREQ_LOW;
  HAL_GPIO_Init(GPIOD, &GPIO_InitStruct);

  /*Configure GPIO pins : PG11 PG13 */
  GPIO_InitStruct.Pin = GPIO_PIN_11|GPIO_PIN_13;
  GPIO_InitStruct.Mode = GPIO_MODE_AF_PP;
  GPIO_InitStruct.Pull = GPIO_NOPULL;
  GPIO_InitStruct.Speed = GPIO_SPEED_FREQ_VERY_HIGH;
  GPIO_InitStruct.Alternate = GPIO_AF11_ETH;
  HAL_GPIO_Init(GPIOG, &GPIO_InitStruct);

  /*Configure GPIO pin : PE0 */
  GPIO_InitStruct.Pin = GPIO_PIN_0;
  GPIO_InitStruct.Mode = GPIO_MODE_OUTPUT_PP;
  GPIO_InitStruct.Pull = GPIO_NOPULL;
  GPIO_InitStruct.Speed = GPIO_SPEED_FREQ_LOW;
  HAL_GPIO_Init(GPIOE, &GPIO_InitStruct);

}

/* USER CODE BEGIN 4 */

/**
  * @brief	Acquisition of temperature data were the SensorHub requests data for all defined sensors until
  * 		the dataAquisitionCnt reaches the given dataSize
  *			All sensors will be checked for updated data and a data point will be generated
  * @param 	dataSize for the GPIO Pin that caused the external interrupt
  * @retval None
  */
static void burstMode(uint32_t dataSize)
{
	uint32_t dataAquisitionCnt = 0;

	while(DataAquisitionFlag == 1)
	{
		if(Sensor_readSensorState(&sens1) == SENSOR_STATE_READY)
		{
			Sensor_readTempData(&sens1);
			Sensor_setTimeStamp(&sens1);
			Sensor_tempConversion(&sens1);
		}

		if(Sensor_readSensorState(&sens2) == SENSOR_STATE_READY)
		{
			Sensor_readTempData(&sens2);
			//Sensor_setTimeStamp(&sens2);
			Sensor_tempConversion(&sens2);
			//Sensor_incrementCycleCnt(&sens2);
		}

		if(Sensor_readSensorState(&sens3) == SENSOR_STATE_READY)
		{
			Sensor_readTempData(&sens3);
			//Sensor_setTimeStamp(&sens3);
			Sensor_tempConversion(&sens3);

		}
		else
		{
			Sensor_putDummyData(&sens3);

		}

		if(Sensor_readSensorState(&sens4) == SENSOR_STATE_READY)
		{
			Sensor_readTempData(&sens4);
			//Sensor_setTimeStamp(&sens4);
			Sensor_tempConversion(&sens4);

		}
		else
		{
			Sensor_putDummyData(&sens4);
		}

		if(Sensor_readSensorState(&sens5) == SENSOR_STATE_READY)
		{
			Sensor_readTempData(&sens5);
			//Sensor_setTimeStamp(&sens5);
			//Sensor_incrementCycleCnt(&sens5);
		}
		else
		{
			Sensor_putDummyData(&sens5);
			//Sensor_incrementCycleCnt(&sens5);
		}

		Operator_uartSendTempData(&huart3, &operator1);

		if(dataAquisitionCnt >= dataSize)
		{
			HAL_GPIO_WritePin(GPIOB, GPIO_PIN_7, GPIO_PIN_RESET);
			DataAquisitionFlag = 0;
			turnOffCurrentSink();
		}

		dataAquisitionCnt ++;

		Sensor_incrementCycleCnt(&sens1);
		Sensor_incrementCycleCnt(&sens2);
		Sensor_incrementCycleCnt(&sens3);
		Sensor_incrementCycleCnt(&sens4);
		Sensor_incrementCycleCnt(&sens5);

		HAL_Delay(2);
	}
}

/**
  * @brief	Sets the configuration parameters and call the init function of the operator handler
  * @param 	None
  * @retval None
  */
static void configOperator(void)
{
	huart3.Instance = USART3;
	huart3.Init.BaudRate = 256000;
	huart3.Init.WordLength = UART_WORDLENGTH_8B;
	huart3.Init.StopBits = UART_STOPBITS_1;
	huart3.Init.Parity = UART_PARITY_NONE;

	Operator_uartInitOperatorInterface(&huart3, &operator1);
}

/**
  * @brief 	Sets the configuration parameters for each sensor and calls the init function for each sensor handler
  * @param 	None
  * @retval None
  */
static void configSensors(void)
{
	/*General Sensor Init*/
	sens1.Init.sensorType = SENSOR_TYPE_THERMOCOUPLE;
	sens1.Init.sensorCnt = 1;
	sens1.Init.interfaceType = SENSOR_INTERFACE_TYPE_I2C;
	sens1.Init.identifier = MCP9600_ACTIVE;

	/*Interface Init*/
	sens1.hi2c_peripheral.Instance = I2C1;
	sens1.hi2c_peripheral.Init.Timing = 0x30802EB5;
	sens1.i2c_data.slaveAdress = (0x60<<1);

	Sensor_initSensor(&sens1);

	/*General Sensor Init*/
	sens2.Init.sensorType = SENSOR_TYPE_THERMOPILE;
	sens2.Init.sensorCnt = 2;
	sens2.Init.interfaceType = SENSOR_INTERFACE_TYPE_SPI;
	sens2.Init.identifier = PSOC4_ACTIVE;

	/*Interface Init*/
	sens2.spi_peripheral.Instance = SPI1;
	sens2.spi_peripheral.Init.Mode = SPI_MODE_MASTER;
	sens2.spi_peripheral.Init.BaudRatePrescaler = SPI_BAUDRATEPRESCALER_2;
	sens2.spi_peripheral.Init.Direction = SPI_DIRECTION_2LINES;
	sens2.spi_peripheral.Init.DataSize = SPI_DATASIZE_8BIT;
	sens2.spi_peripheral.Init.CLKPolarity = SPI_POLARITY_LOW;
	sens2.spi_peripheral.Init.CLKPhase = SPI_PHASE_1EDGE;
	sens2.spi_data.NSS_Pin = SPI1_NSS_Pin;
	sens2.spi_data.NSS_Port = SPI1_NSS_GPIO_Port;

	Sensor_initSensor(&sens2);

	/*General Sensor Init*/
	sens3.Init.sensorType = SENSOR_TYPE_THERMISTOR_NTC;
	sens3.Init.sensorCnt = 3;
	sens3.Init.interfaceType = SENSOR_INTERFACE_TYPE_ANALOG;
	sens3.Init.identifier = VTHADC_ACTIVE;

	/*Interface Init*/
	sens3.adc_peripheral.Instance = ADC1;
	sens3.adc_peripheral.Init.ClockPrescaler = ADC_CLOCK_SYNC_PCLK_DIV2;
	sens3.adc_peripheral.Init.Resolution = ADC_RESOLUTION_12B;
	sens3.adc_peripheral.Init.NbrOfConversion = 1;

	Sensor_initSensor(&sens3);

	/*General Sensor Init*/
	sens4.Init.sensorType = SENSOR_TYPE_TSEP;
	sens4.Init.sensorCnt = 4;
	sens4.Init.interfaceType = SENSOR_INTERFACE_TYPE_ANALOG;
	sens4.Init.identifier = VFADC_ACTIVE;

	/*Interface Init*/
	sens4.adc_peripheral.Instance = ADC2;
	sens4.adc_peripheral.Init.ClockPrescaler = ADC_CLOCK_SYNC_PCLK_DIV2;
	sens4.adc_peripheral.Init.Resolution = ADC_RESOLUTION_12B;
	sens4.adc_peripheral.Init.NbrOfConversion = 1;

	Sensor_initSensor(&sens4);

	/*General Sensor Init*/
	sens5.Init.sensorType = SENSOR_TYPE_THERMOCAM;
	sens5.Init.sensorCnt = 5;
	sens5.Init.interfaceType = SENSOR_INTERFACE_TYPE_TRIGGER;
	sens5.Init.identifier = VARIOCAM_ACIVE;

	Sensor_initSensor(&sens5);
}

/* USER CODE END 4 */

void Error_Handler(void)
{
  /* USER CODE BEGIN Error_Handler_Debug */
  /* User can add his own implementation to report the HAL error return state */
	printf("HAL_ERROR, Function: %s\r\n",hal_errorFunctionName);
  /* USER CODE END Error_Handler_Debug */
}

/************************ (C) COPYRIGHT STMicroelectronics *****END OF FILE****/
